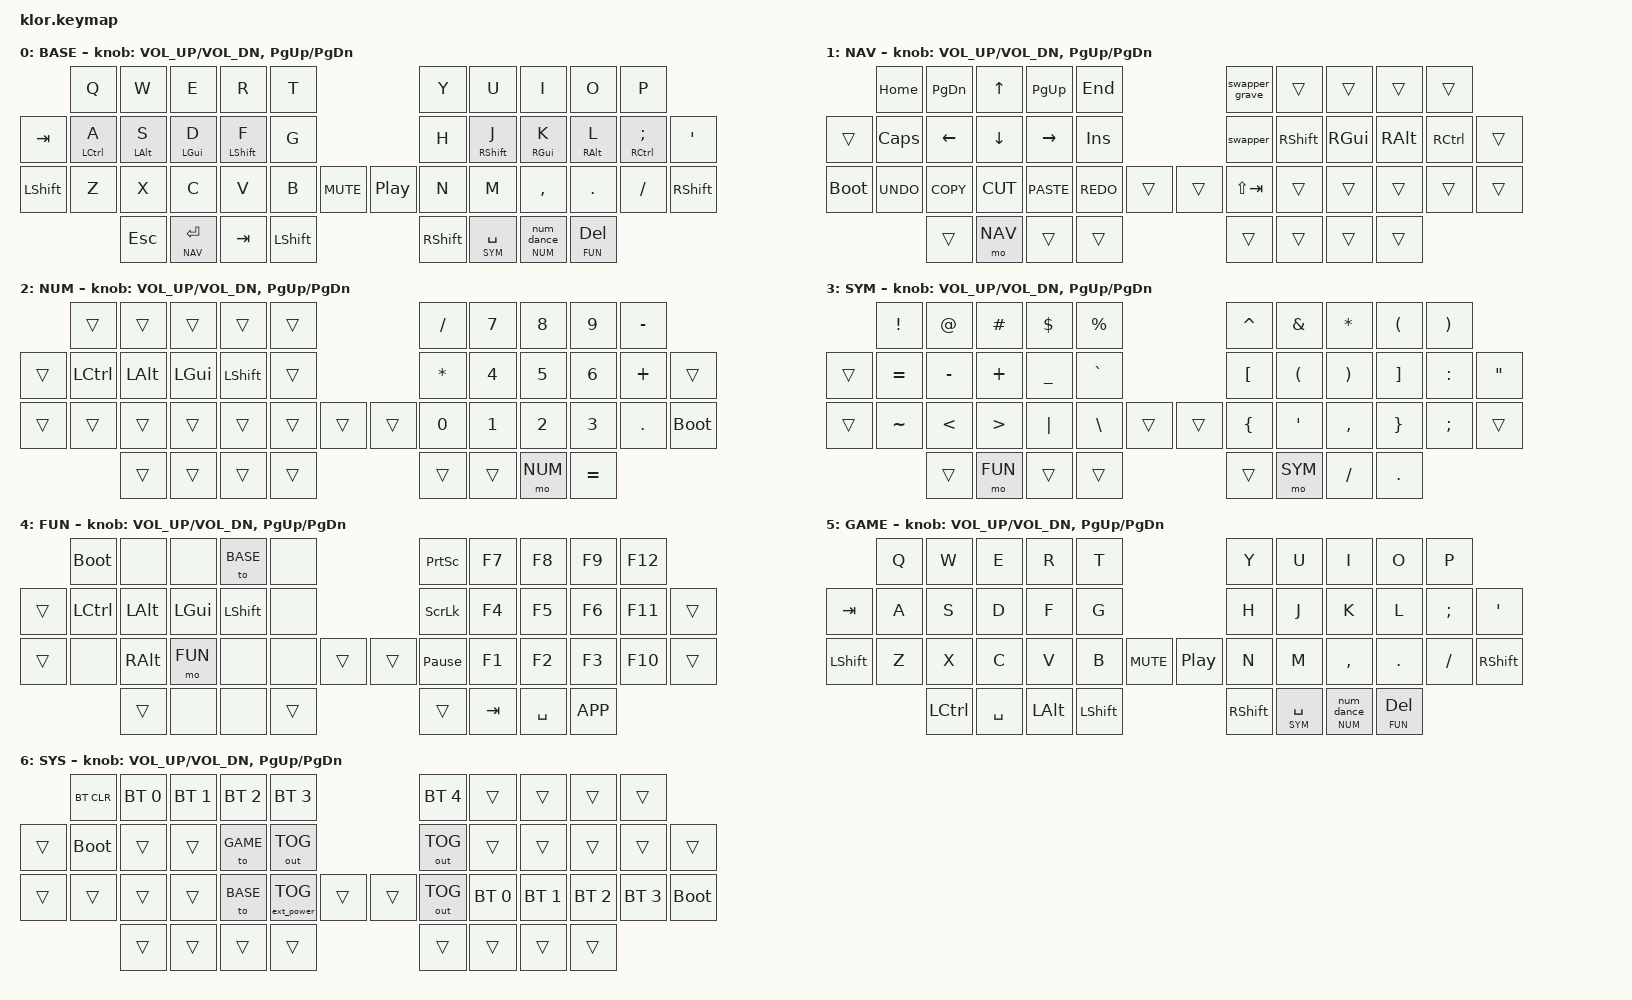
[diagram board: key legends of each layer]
/*
 * KLOR 42-key keymap with Miryoku-inspired layout
 * Based on Hillside View layout adapted for Klor
 * Copyright (c) 2022 The ZMK Contributors
 * SPDX-License-Identifier: MIT
 */

#include <zmk-helpers/helper.h>
#include <zmk-helpers/key-labels/klor.h>
#include <behaviors/num_word.dtsi>
#include <behaviors.dtsi>
#include <dt-bindings/zmk/keys.h>
#include <dt-bindings/zmk/bt.h>
#include <dt-bindings/zmk/outputs.h>
#include <dt-bindings/zmk/ext_power.h>
#include <dt-bindings/zmk/reset.h>

// Layer definitions
#define BASE 0
#define NAV 1
#define NUM 2
#define SYM 3
#define FUN 4
#define GAME 5
#define SYS 6

// Key position groups for positional hold-tap (42-key Klor layout)
// See: zmk-helpers/include/zmk-helpers/key-labels/klor.h
// Left hand: 17 keys (top 5 + middle 6 + bottom 6)
#define KEYS_L LT4 LT3 LT2 LT1 LT0 LM5 LM4 LM3 LM2 LM1 LM0 LB5 LB4 LB3 LB2 LB1 LB0
// Right hand: 17 keys (top 5 + middle 6 + bottom 6)
#define KEYS_R RT0 RT1 RT2 RT3 RT4 RM0 RM1 RM2 RM3 RM4 RM5 RB0 RB1 RB2 RB3 RB4 RB5
// Thumb keys: 8 keys (4 per side)
#define THUMBS LH3 LH2 LH1 LH0 RH0 RH1 RH2 RH3

/ {
    behaviors {
        // Swapper for Ctrl+Tab window switching (macOS with swapped GUI/Ctrl)
        swapper: swapper {
            compatible = "zmk,behavior-tri-state";
            #binding-cells = <0>;
            bindings = <&kt LCTRL>, <&kp TAB>, <&kt LCTRL>;
            ignored-key-positions = <LT3 LT2 LT1 LT0 LM3 LM2 LM1 LM0 LB2>; // Allow Shift+Tab, navigation keys
        };

        // Swapper for Ctrl+` window switching within same app (macOS)
        swapper_grave: swapper_grave {
            compatible = "zmk,behavior-tri-state";
            #binding-cells = <0>;
            bindings = <&kt LCTRL>, <&kp GRAVE>, <&kt LCTRL>;
            ignored-key-positions = <LT3 LT2 LT1 LT0 LM3 LM2 LM1 LM0 LB2>; // Allow navigation keys
        };

        // Home row mods - left hand (urob's timing)
        hml: homerow_mods_left {
            compatible = "zmk,behavior-hold-tap";
            #binding-cells = <2>;
            flavor = "balanced";
            tapping-term-ms = <280>;
            quick-tap-ms = <175>;
            require-prior-idle-ms = <150>;
            bindings = <&kp>, <&kp>;
            hold-trigger-key-positions = <KEYS_R THUMBS>;
            hold-trigger-on-release;
        };

        // Home row mods - right hand (urob's timing)
        hmr: homerow_mods_right {
            compatible = "zmk,behavior-hold-tap";
            #binding-cells = <2>;
            flavor = "balanced";
            tapping-term-ms = <280>;
            quick-tap-ms = <175>;
            require-prior-idle-ms = <150>;
            bindings = <&kp>, <&kp>;
            hold-trigger-key-positions = <KEYS_L THUMBS>;
            hold-trigger-on-release;
        };

        // Tap-dance for numword: tap=numword, double-tap=sticky layer
        num_dance: num_dance {
            compatible = "zmk,behavior-tap-dance";
            #binding-cells = <0>;
            tapping-term-ms = <200>;
            bindings = <&num_word NUM>, <&sl NUM>;
        };

        // Smart-num: hold=momentary NUM, tap=numword
        smart_num: smart_num {
            compatible = "zmk,behavior-hold-tap";
            #binding-cells = <2>;
            flavor = "balanced";
            tapping-term-ms = <200>;
            quick-tap-ms = <175>;
            bindings = <&mo>, <&num_dance>;
        };
    };

    combos {
        compatible = "zmk,combos";

        // Combo to access SYS layer (outer pinky keys: TAB + LSHFT)
        combo_sys {
            timeout-ms = <50>;
            key-positions = <LM5 LB5>; // TAB + LSHFT positions
            bindings = <&mo SYS>;
            layers = <BASE GAME>;
        };
    };

    conditional_layers {
        compatible = "zmk,conditional-layers";

        // SYM + FUN held together activates SYS layer
        tri_layer {
            if-layers = <SYM FUN>;
            then-layer = <SYS>;
        };
    };

    keymap {
        compatible = "zmk,keymap";

        // BASE LAYER - QWERTY with urob's home row mods (CAGS order)
        base_layer {
            display-name = "BASE";
            /* KLOR 42-key layout
             *           ┌─────────┬─────────┬─────────┬─────────┬─────────┐                    ┌─────────┬─────────┬─────────┬─────────┬─────────┐
             *           │    Q    │    W    │    E    │    R    │    T    │                    │    Y    │    U    │    I    │    O    │    P    │
             * ┌─────────┼─────────┼─────────┼─────────┼─────────┼─────────┤                    ├─────────┼─────────┼─────────┼─────────┼─────────┼─────────┐
             * │   TAB   │  CTRL/A │  ALT/S  │  GUI/D  │ SHFT/F  │    G    │                    │    H    │ SHFT/J  │  GUI/K  │  ALT/L  │ CTRL/;  │    '    │
             * ├─────────┼─────────┼─────────┼─────────┼─────────┼─────────┤╭────────╮╭────────╮├─────────┼─────────┼─────────┼─────────┼─────────┼─────────┤
             * │  SHIFT  │    Z    │    X    │    C    │    V    │    B    ││  MUTE  ││ PL/PS  ││    N    │    M    │    ,    │    .    │    /    │  SHIFT  │
             * └─────────┴─────────┴─────────┼─────────┼─────────┼─────────┼╰────────╯╰────────╯┼─────────┼─────────┼─────────┼─────────┴─────────┴─────────┘
             *                               │   ESC   │ NAV/RET │   TAB   │  LSHFT  ││  RSHFT  │ SYM/SPC │ NUM/BSP │ FUN/DEL │
             *                               └─────────┴─────────┴─────────┴─────────┘└─────────┴─────────┴─────────┴─────────┘
             */
            bindings = <
                     &kp Q          &kp W        &kp E         &kp R         &kp T                                           &kp Y         &kp U            &kp I         &kp O        &kp P
            &kp TAB  &hml LCTRL A   &hml LALT S  &hml LGUI D   &hml LSHFT F  &kp G                                           &kp H         &hmr RSHFT J     &hmr RGUI K   &hmr RALT L  &hmr RCTRL SEMI  &kp SQT
            &kp LSHFT &kp Z         &kp X        &kp C         &kp V         &kp B     &kp C_MUTE          &kp C_PP           &kp N         &kp M            &kp COMMA     &kp DOT      &kp FSLH         &kp RSHFT
                                                 &kp ESC       &lt NAV RET   &kp TAB   &kp LSHFT           &kp RSHFT          &lt SYM SPACE &smart_num NUM 0 &lt FUN DEL
            >;
            sensor-bindings = <&inc_dec_kp C_VOL_UP C_VOL_DN &inc_dec_kp PG_UP PG_DN>;
        };

        // NAV LAYER - Navigation (one-handed LEFT side, ESDF arrows)
        nav_layer {
            display-name = "NAV";
            bindings = <
                     &kp HOME   &kp PG_DN  &kp UP     &kp PG_UP   &kp END                                           &swapper_grave &trans     &trans    &trans    &trans
            &trans   &kp CAPS   &kp LEFT   &kp DOWN   &kp RIGHT   &kp INS                                           &swapper       &kp RSHFT  &kp RGUI  &kp RALT  &kp RCTRL  &trans
            &bootloader &kp K_UNDO &kp K_COPY &kp K_CUT &kp K_PASTE &kp K_REDO &trans          &trans                &kp LS(TAB)    &trans     &trans    &trans    &trans     &trans
                                             &trans     &mo NAV    &trans     &trans           &trans                &trans         &trans     &trans
            >;
            sensor-bindings = <&inc_dec_kp C_VOL_UP C_VOL_DN &inc_dec_kp PG_UP PG_DN>;
        };

        // NUM LAYER - Number pad (one-handed right side, urob's design)
        num_layer {
            display-name = "NUM";
            bindings = <
                     &trans     &trans    &trans    &trans     &trans                                             &kp FSLH  &kp N7  &kp N8  &kp N9  &kp MINUS
            &trans   &kp LCTRL  &kp LALT  &kp LGUI  &kp LSHFT  &trans                                             &kp STAR  &kp N4  &kp N5  &kp N6  &kp PLUS    &trans
            &trans   &trans     &trans    &trans    &trans     &trans     &trans          &trans                  &kp N0    &kp N1  &kp N2  &kp N3  &kp DOT     &bootloader
                                          &trans    &trans     &trans     &trans          &trans                  &trans    &mo NUM &kp EQUAL
            >;
            sensor-bindings = <&inc_dec_kp C_VOL_UP C_VOL_DN &inc_dec_kp PG_UP PG_DN>;
        };

        // SYM LAYER - Symbols (Traditional number row + Python/JS optimized)
        sym_layer {
            display-name = "SYM";
            bindings = <
                     &kp EXCL   &kp AT    &kp HASH  &kp DLLR  &kp PRCNT                                            &kp CARET &kp AMPS  &kp ASTRK &kp LPAR  &kp RPAR
            &trans   &kp EQUAL  &kp MINUS &kp PLUS  &kp UNDER &kp GRAVE                                            &kp LBKT  &kp LPAR  &kp RPAR  &kp RBKT  &kp COLON  &kp DQT
            &trans   &kp TILDE  &kp LT    &kp GT    &kp PIPE  &kp BSLH   &trans          &trans                    &kp LBRC  &kp SQT   &kp COMMA &kp RBRC  &kp SEMI   &trans
                                          &trans    &mo FUN   &trans     &trans          &trans                    &mo SYM   &kp FSLH  &kp DOT
            >;
            sensor-bindings = <&inc_dec_kp C_VOL_UP C_VOL_DN &inc_dec_kp PG_UP PG_DN>;
        };

        // FUN LAYER - Function keys (Miryoku flipped: right hand function keys)
        fun_layer {
            display-name = "FUN";
            bindings = <
                       &bootloader &none     &none      &to BASE   &none                                              &kp PSCRN        &kp F7     &kp F8     &kp F9     &kp F12
            &trans     &kp LCTRL   &kp LALT  &kp LGUI   &kp LSHFT  &none                                              &kp SLCK         &kp F4     &kp F5     &kp F6     &kp F11    &trans
            &trans     &none       &kp RALT  &mo FUN    &none      &none      &trans          &trans                  &kp PAUSE_BREAK  &kp F1     &kp F2     &kp F3     &kp F10    &trans
                                             &trans     &none      &none      &trans          &trans                  &kp TAB          &kp SPACE  &kp K_APP
            >;
            sensor-bindings = <&inc_dec_kp C_VOL_UP C_VOL_DN &inc_dec_kp PG_UP PG_DN>;
        };

        // GAME LAYER - Gaming mode (no home row mods, instant key response)
        game_layer {
            display-name = "GAME";
            // TAB+SHIFT combo opens SYS layer to toggle back to BASE
            bindings = <
                     &kp Q      &kp W      &kp E      &kp R      &kp T                                               &kp Y         &kp U            &kp I         &kp O        &kp P
            &kp TAB  &kp A      &kp S      &kp D      &kp F      &kp G                                               &kp H         &kp J            &kp K         &kp L        &kp SEMI   &kp SQT
            &kp LSHFT &kp Z     &kp X      &kp C      &kp V      &kp B      &kp C_MUTE          &kp C_PP             &kp N         &kp M            &kp COMMA     &kp DOT      &kp FSLH   &kp RSHFT
                                           &kp LCTRL  &kp SPACE  &kp LALT   &kp LSHFT           &kp RSHFT            &lt SYM SPACE &smart_num NUM 0 &lt FUN DEL
            >;
            sensor-bindings = <&inc_dec_kp C_VOL_UP C_VOL_DN &inc_dec_kp PG_UP PG_DN>;
        };

        // SYS LAYER - System controls (activated by SYM + FUN or TAB+SHIFT combo)
        sys_layer {
            display-name = "SYS";
            bindings = <
                       &bt BT_CLR   &bt BT_SEL 0  &bt BT_SEL 1  &bt BT_SEL 2  &bt BT_SEL 3                                    &bt BT_SEL 4  &trans          &trans          &trans          &trans
            &trans     &bootloader  &trans        &trans        &to GAME      &out OUT_TOG                                    &out OUT_TOG  &trans          &trans          &trans          &trans       &trans
            &trans     &trans       &trans        &trans        &to BASE      &ext_power EP_TOG  &trans       &trans          &out OUT_TOG  &bt BT_SEL 0    &bt BT_SEL 1    &bt BT_SEL 2    &bt BT_SEL 3 &bootloader
                                                  &trans        &trans        &trans             &trans       &trans          &trans        &trans          &trans
            >;
            sensor-bindings = <&inc_dec_kp C_VOL_UP C_VOL_DN &inc_dec_kp PG_UP PG_DN>;
        };

        // Reserved layers for ZMK Studio
        extra_1 {
            status = "reserved";
        };

        extra_2 {
            status = "reserved";
        };

        extra_3 {
            status = "reserved";
        };
    };
};
